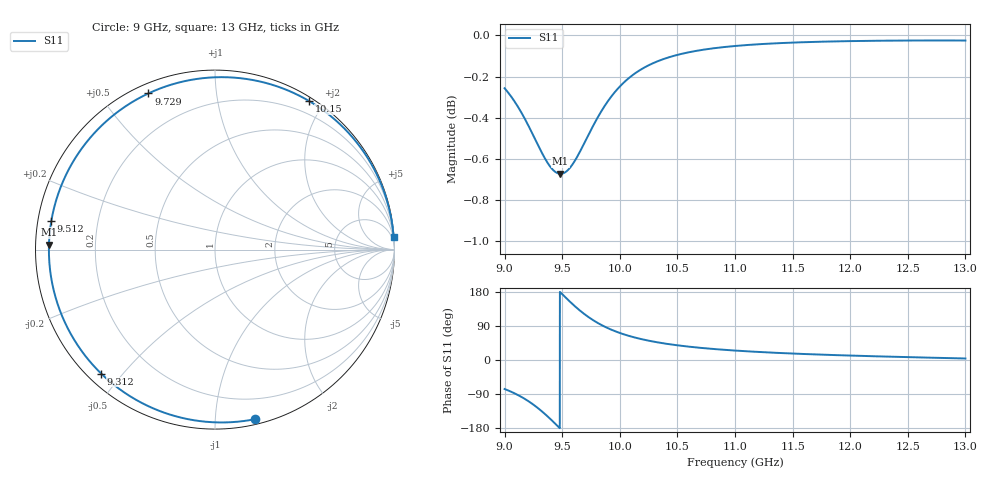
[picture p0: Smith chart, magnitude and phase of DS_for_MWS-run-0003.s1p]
! TOUCHSTONE file generated by CST DESIGN STUDIO
! Date and time: Wed Feb  5 13:46:32 2025
! Project name: C:\Work\MatlabApps\UnitCellOptimizationMatlab\CST\unitcell.cst
! Tree item: Tasks\Sweep1\SPara1\S-Parameters
! Header version: 2024
! Port assignment regex: !\s*Touchstone port\s*([0-9]+)\s*=\s*(CST MWS port|CST DES external port|CST DES block port)\s*(.+)\s* \(\"(.*)\"\)(\s*mode\s*([0-9]+))?.*
! Touchstone port assignment:
! Touchstone port 1 = CST DES external port 1 ("")
# GHz S MA R 50
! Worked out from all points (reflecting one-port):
!   4001 points, 9 GHz to 13 GHz, reference 50 ohm
!   lowest |S11| = -0.7 dB at 9.485 GHz (marker M1), VSWR 25.83, Z = 1.94 + j0.762 ohm
!   phase of S11 starts at -77 deg and turns -279 deg over the sweep
!   S11 on the Smith chart (normalised r, x): 9 GHz: 0.04, -1.27; 9.312 GHz: 0.04, -0.44; 9.512 GHz: 0.04, +0.09; 9.729 GHz: 0.04, +0.66; 10.15 GHz: 0.04, +1.81; 13 GHz: 1, +28
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9  0.9708 -76.6
9.079  0.9644 -86.9
9.178  0.9541 -103.2
9.247  0.9458 -117.1
9.312  0.9378 -132.5
9.358  0.9326 -144.6
9.406  0.9284 -158.2
9.446  0.9262 -170.0
9.485  0.9255 178.3
9.5  0.9256 173.7
9.512  0.9258 170.1
9.564  0.9283 154.8
9.624  0.9337 138.2
9.676  0.9396 125.1
9.729  0.946 113.1
9.783  0.9523 102.3
9.844  0.9589 91.8
9.921  0.9659 80.7
10  0.9718 71.3
10.151  0.9798 57.7
10.309  0.9851 47.6
10.5  0.9891 38.8
10.722  0.992 31.5
11  0.9941 24.9
11.5  0.996 17.0
12  0.9968 11.7
12.5  0.9971 7.6
13  0.9971 4.0
